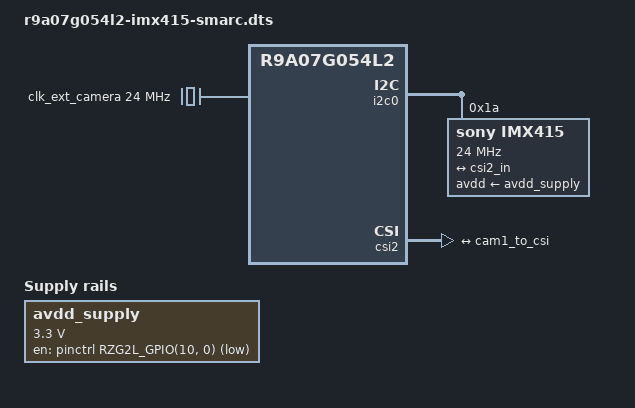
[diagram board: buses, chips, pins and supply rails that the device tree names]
// SPDX-License-Identifier: (GPL-2.0-only OR BSD-2-Clause)
/*
 * Device Tree Source for the RZ/V2L SMARC MXT board variant
 *
 * Copyright (C) 2024 MXT Creation SRL
 */

/dts-v1/;
#include "r9a07g054l2-mxt-smarc.dts"

/ {
	avdd_supply: 3p3v {
		compatible = "regulator-fixed";
		regulator-name = "avdd_supply";
		regulator-min-microvolt = <3300000>;
		regulator-max-microvolt = <3300000>;
		gpios = <&pinctrl RZG2L_GPIO(10, 0) 0>;
		startup-delay-us = <400000>;
        };
};

&clk_ext_camera {
	compatible = "fixed-clock";
	#clock-cells = <0>;
	clock-frequency = <24000000>;
};

&i2c0 {
	pinctrl-0 = <&i2c0_pins>;
	pinctrl-names = "default";

	status = "okay";

	imx415: imx415@1a {
		compatible = "sony,imx415";
		reg = <0x1a>;
		clock-names = "inck";
		clocks = <&clk_ext_camera>;
		clock-frequency = <24000000>;
		avdd-supply = <&avdd_supply>;

		port {
			cam1_to_csi: endpoint {
				clock-lanes = <0>;
				data-lanes = <1 2>;
				link-frequencies = /bits/ 64 <360000000 720000000>;
				remote-endpoint = <&csi2_in>;
			};
		};
	};

	/delete-node/ camera@3c;
};

&csi2 {
	status = "okay";

	ports {
		port {
			csi2_in: endpoint {
				clock-lanes = <0>;
				data-lanes = <1 2>;
				remote-endpoint = <&cam1_to_csi>;
			};
		};
	};
};

